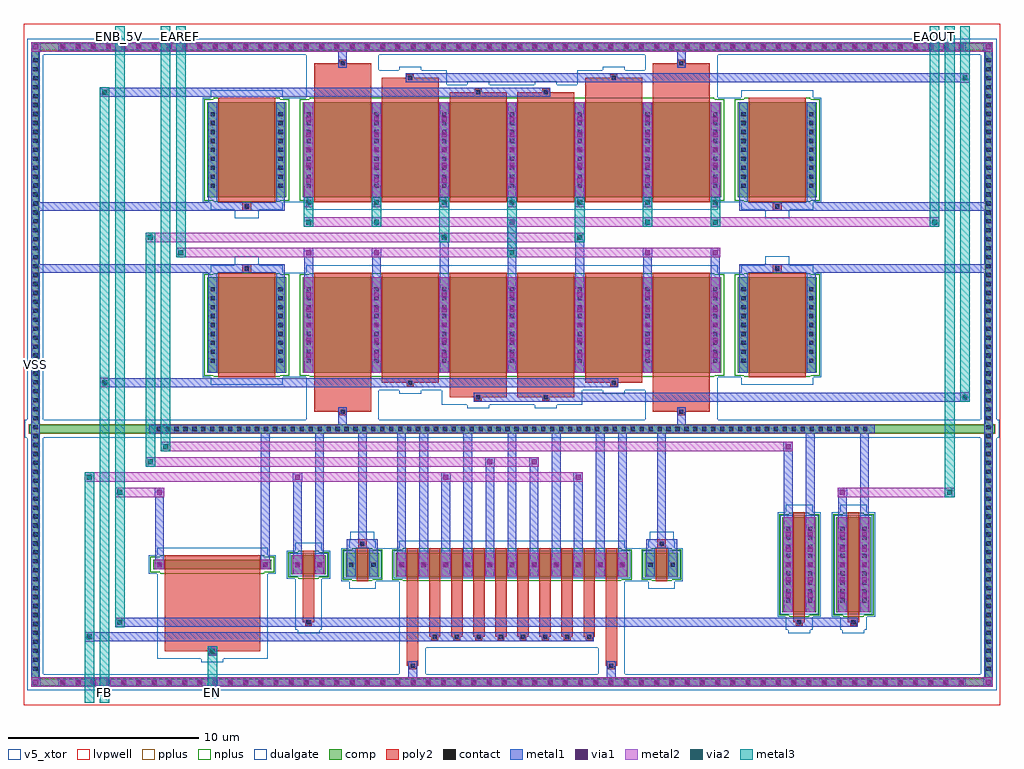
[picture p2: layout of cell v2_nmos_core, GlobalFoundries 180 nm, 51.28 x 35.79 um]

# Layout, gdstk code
import gdstk
lib = gdstk.Library(unit=1e-6, precision=1e-09)
def R(c, l, rs):  # rectangles x0, y0, x1, y1
    for r in rs: c.add(gdstk.rectangle(r[:2], r[2:], *l))
def A(c, l, x, y, w, h, nx, ny, dx, dy):  # array of equal rectangles
    R(c, l, [(x+i*dx, y+j*dy, x+i*dx+w, y+j*dy+h) for i in range(nx) for j in range(ny)])
comp = (22, 0)
poly2 = (30, 0)
pplus = (31, 0)
nplus = (32, 0)
contact = (33, 0)
metal1 = (34, 0)
via1 = (35, 0)
metal2 = (36, 0)
via2 = (38, 0)
metal3 = (42, 0)
dualgate = (55, 0)
v5_xtor = (112, 1)
lvpwell = (204, 0)

v2_nmos_core = lib.new_cell('v2_nmos_core')
R(v2_nmos_core, comp, [(-25.22,-0.365,25.22,-0.005), (-25.22,-0.005,-24.86,12.89), (24.86,-0.005,25.22,12.89), (14.19,3.49,15.99,8.49), (17.04,3.49,18.84,8.49), (-8.74,5.365,-6.98,6.615), (-6.12,5.365,6.12,6.615), (6.98,5.365,8.74,6.615), (-11.59,5.49,-9.79,6.49), (-18.84,5.74,-12.64,6.24), (-25.36,12.89,25.36,13.35), (-25.22,13.35,-24.86,33.015), (24.86,13.35,25.22,33.015), (-16.02,16.08,-11.86,21.08), (-11,16.08,11,21.08), (11.86,16.08,16.02,21.08), (-16.02,25.28,-11.86,30.28), (-11,25.28,11,30.28), (11.86,25.28,16.02,30.28), (-25.22,33.015,25.22,33.375)])
A(v2_nmos_core, poly2, -4.24, 2.02, 0.36, 0.18, 8, 1, 1.16, 0)
A(v2_nmos_core, poly2, -4.36, 2.2, 0.6, 4.655, 8, 1, 1.16, 0)
R(v2_nmos_core, poly2, [(-5.4,0.5,-5.04,0.68), (5.04,0.5,5.4,0.68), (-5.52,0.68,-4.92,6.855), (4.92,0.68,5.52,6.855), (-15.92,1.26,-15.56,1.44), (-18.24,1.44,-13.24,6.48), (-10.87,2.78,-10.51,2.96), (14.91,2.78,15.27,2.96), (17.76,2.78,18.12,2.96), (-10.99,2.96,-10.39,6.73), (14.79,2.96,15.39,8.73), (17.64,2.96,18.24,8.73), (-8.16,5.125,-7.56,6.855), (7.56,5.125,8.16,6.855), (-8.09,6.855,-7.63,7.315), (7.63,6.855,8.09,7.315), (-9.08,13.85,-8.72,14.03), (8.72,13.85,9.08,14.03), (-10.4,14.03,-7.4,21.32), (7.4,14.03,10.4,21.32), (-1.96,14.61,-1.6,14.79), (1.6,14.61,1.96,14.79), (-3.28,14.79,-0.28,21.32), (0.28,14.79,3.28,21.32), (-5.52,15.37,-5.16,15.55), (5.16,15.37,5.52,15.55), (-6.84,15.55,-3.84,21.32), (3.84,15.55,6.84,21.32), (-15.44,15.84,-12.44,21.32), (12.44,15.84,15.44,21.32), (-14.17,21.32,-13.71,21.78), (13.71,21.32,14.17,21.78), (-14.17,24.58,-13.71,25.04), (13.71,24.58,14.17,25.04), (-15.44,25.04,-12.44,30.52), (-10.4,25.04,-7.4,32.33), (-6.84,25.04,-3.84,31.57), (-3.28,25.04,-0.28,30.81), (0.28,25.04,3.28,30.81), (3.84,25.04,6.84,31.57), (7.4,25.04,10.4,32.33), (12.44,25.04,15.44,30.52), (-1.96,30.81,-1.6,30.99), (1.6,30.81,1.96,30.99), (-5.52,31.57,-5.16,31.75), (5.16,31.57,5.52,31.75), (-9.08,32.33,-8.72,32.51), (8.72,32.33,9.08,32.51)])
R(v2_nmos_core, pplus, [(-23.81,-0.395,23.81,-0.385), (-25.24,-0.385,25.24,0.015), (-25.24,0.015,-24.83,0.295), (-23.81,0.015,23.81,0.025), (24.83,0.015,25.24,0.295), (-25.25,0.295,-24.83,12.87), (24.83,0.295,25.25,12.87), (-25.38,12.87,25.38,13.37), (-25.25,13.37,-24.83,32.715), (24.83,13.37,25.25,32.715), (-25.24,32.715,-24.83,32.995), (24.83,32.715,25.24,32.995), (-23.81,32.985,23.81,32.995), (-25.24,32.995,25.24,33.395), (-23.81,33.395,23.81,33.405)])
R(v2_nmos_core, nplus, [(14.56,3.26,15.62,3.33), (17.41,3.26,18.47,3.33), (14.03,3.33,16.15,8.65), (16.88,3.33,19,8.65), (-8.39,5.135,-7.33,5.205), (-5.75,5.135,5.75,5.205), (7.33,5.135,8.39,5.205), (-8.9,5.205,-6.82,6.775), (-6.28,5.205,6.28,6.775), (6.82,5.205,8.9,6.775), (-11.22,5.26,-10.16,5.33), (-11.75,5.33,-9.63,6.65), (-18.47,5.51,-13.01,5.58), (-19,5.58,-12.48,6.4), (-18.47,6.4,-13.01,6.47), (-11.22,6.65,-10.16,6.72), (-8.39,6.775,-7.33,6.845), (-5.75,6.775,5.75,6.845), (7.33,6.775,8.39,6.845), (14.56,8.65,15.62,8.72), (17.41,8.65,18.47,8.72), (-15.67,15.85,-12.21,15.92), (-10.63,15.85,10.63,15.92), (12.21,15.85,15.67,15.92), (-16.18,15.92,-11.7,21.24), (-11.16,15.92,11.16,21.24), (11.7,15.92,16.18,21.24), (-15.67,21.24,-12.21,21.31), (-10.63,21.24,10.63,21.31), (12.21,21.24,15.67,21.31), (-15.67,25.05,-12.21,25.12), (-10.63,25.05,10.63,25.12), (12.21,25.05,15.67,25.12), (-16.18,25.12,-11.7,30.44), (-11.16,25.12,11.16,30.44), (11.7,25.12,16.18,30.44), (-15.67,30.44,-12.21,30.51), (-10.63,30.44,10.63,30.51), (12.21,30.44,15.67,30.51)])
A(v2_nmos_core, contact, -23.71, -0.295, 0.22, 0.22, 60, 2, 0.8, 33.38)
A(v2_nmos_core, contact, -25.15, 0.415, 0.22, 0.22, 1, 69, 0, 0.47)
A(v2_nmos_core, contact, 24.93, 0.415, 0.22, 0.22, 1, 69, 0, 0.47)
A(v2_nmos_core, contact, -4.17, 2.09, 0.22, 0.22, 8, 1, 1.16, 0)
A(v2_nmos_core, contact, 14.4, 4, 0.22, 0.22, 1, 9, 0, 0.47)
A(v2_nmos_core, contact, 15.56, 4, 0.22, 0.22, 1, 9, 0, 0.47)
A(v2_nmos_core, contact, 17.25, 4, 0.22, 0.22, 1, 9, 0, 0.47)
A(v2_nmos_core, contact, 18.41, 4, 0.22, 0.22, 1, 9, 0, 0.47)
A(v2_nmos_core, contact, -5.91, 5.88, 0.22, 0.22, 11, 1, 1.16, 0)
A(v2_nmos_core, contact, -18.675, 13.01, 0.22, 0.22, 80, 1, 0.47, 0)
A(v2_nmos_core, contact, -15.83, 16.59, 0.22, 0.22, 1, 9, 0, 0.47)
A(v2_nmos_core, contact, -12.27, 16.59, 0.22, 0.22, 1, 9, 0, 0.47)
A(v2_nmos_core, contact, -10.79, 16.59, 0.22, 0.22, 7, 9, 3.56, 0.47)
A(v2_nmos_core, contact, 12.05, 16.59, 0.22, 0.22, 1, 9, 0, 0.47)
A(v2_nmos_core, contact, 15.61, 16.59, 0.22, 0.22, 1, 9, 0, 0.47)
A(v2_nmos_core, contact, -15.83, 25.79, 0.22, 0.22, 1, 9, 0, 0.47)
A(v2_nmos_core, contact, -12.27, 25.79, 0.22, 0.22, 1, 9, 0, 0.47)
A(v2_nmos_core, contact, -10.79, 25.79, 0.22, 0.22, 7, 9, 3.56, 0.47)
A(v2_nmos_core, contact, 12.05, 25.79, 0.22, 0.22, 1, 9, 0, 0.47)
A(v2_nmos_core, contact, 15.61, 25.79, 0.22, 0.22, 1, 9, 0, 0.47)
R(v2_nmos_core, contact, [(-5.33,0.57,-5.11,0.79), (5.11,0.57,5.33,0.79), (-15.85,1.33,-15.63,1.55), (-10.8,2.85,-10.58,3.07), (14.98,2.85,15.2,3.07), (17.83,2.85,18.05,3.07), (-18.63,5.88,-18.41,6.1), (-13.07,5.88,-12.85,6.1), (-11.38,5.88,-11.16,6.1), (-10.22,5.88,-10,6.1), (-8.55,5.88,-8.33,6.1), (-7.39,5.88,-7.17,6.1), (7.17,5.88,7.39,6.1), (8.33,5.88,8.55,6.1), (-7.97,6.975,-7.75,7.195), (7.75,6.975,7.97,7.195), (-9.01,13.92,-8.79,14.14), (8.79,13.92,9.01,14.14), (-1.89,14.68,-1.67,14.9), (1.67,14.68,1.89,14.9), (-5.45,15.44,-5.23,15.66), (5.23,15.44,5.45,15.66), (-14.05,21.44,-13.83,21.66), (13.83,21.44,14.05,21.66), (-14.05,24.7,-13.83,24.92), (13.83,24.7,14.05,24.92), (-1.89,30.7,-1.67,30.92), (1.67,30.7,1.89,30.92), (-5.45,31.46,-5.23,31.68), (5.23,31.46,5.45,31.68), (-9.01,32.22,-8.79,32.44), (8.79,32.22,9.01,32.44)])
A(v2_nmos_core, metal1, -6.03, 5.365, 0.46, 0.375, 11, 1, 1.16, 0)
A(v2_nmos_core, metal1, -6.05, 5.74, 0.5, 0.5, 11, 1, 1.16, 0)
A(v2_nmos_core, metal1, -4.87, 6.24, 0.46, 6.65, 5, 1, 2.32, 0)
A(v2_nmos_core, metal1, -10.91, 16.08, 0.46, 0.65, 7, 2, 3.56, 9.2)
A(v2_nmos_core, metal1, -10.93, 16.73, 0.5, 3.7, 7, 2, 3.56, 9.2)
A(v2_nmos_core, metal1, -10.93, 24.78, 0.5, 0.5, 7, 1, 3.56, 0)
A(v2_nmos_core, metal1, -10.91, 29.63, 0.46, 0.65, 7, 1, 3.56, 0)
R(v2_nmos_core, metal1, [(-25.27,-0.435,-24.77,0.065), (-23.85,-0.435,23.85,0.065), (24.77,-0.435,25.27,0.065), (-25.27,0.065,-24.81,21.32), (-5.45,0.065,-4.99,0.91), (4.99,0.065,5.45,0.91), (24.81,0.065,25.27,21.32), (-15.99,1.19,-15.49,1.69), (-22.45,1.95,-21.95,1.97), (-22.45,1.97,4.29,2.43), (-22.45,2.43,-21.95,2.45), (-20.85,2.71,-20.35,2.73), (-20.85,2.73,18.17,3.19), (-20.85,3.19,-20.35,3.21), (14.28,3.49,14.74,4.14), (15.44,3.49,15.9,4.14), (17.13,3.49,17.59,4.14), (18.29,3.49,18.75,4.14), (14.26,4.14,14.76,7.84), (15.42,4.14,15.92,7.84), (17.11,4.14,17.61,7.84), (18.27,4.14,18.77,7.84), (-8.67,5.365,-8.21,6.855), (-7.51,5.365,-7.05,6.855), (7.05,5.365,7.51,6.855), (8.21,5.365,8.67,6.855), (-11.5,5.49,-11.04,5.74), (-10.34,5.49,-9.88,5.74), (-18.77,5.74,-18.27,6.24), (-13.21,5.74,-12.71,6.24), (-11.52,5.74,-11.02,6.24), (-10.36,5.74,-9.86,6.24), (-18.75,6.24,-18.29,9.54), (-13.19,6.24,-12.73,12.89), (-11.5,6.24,-11.04,10.34), (-10.34,6.24,-9.88,12.89), (-6.03,6.24,-5.57,12.89), (-3.71,6.24,-3.25,10.34), (-1.39,6.24,-0.93,11.14), (0.93,6.24,1.39,11.14), (3.25,6.24,3.71,10.34), (5.57,6.24,6.03,12.89), (-8.67,6.855,-7.05,7.315), (7.05,6.855,8.67,7.315), (-8.09,7.315,-7.63,12.89), (7.63,7.315,8.09,12.89), (14.28,7.84,14.74,11.94), (15.44,7.84,15.9,12.89), (17.13,7.84,17.59,9.54), (18.29,7.84,18.75,12.89), (-18.77,9.54,-18.27,10.04), (17.11,9.54,17.61,10.04), (-11.52,10.34,-11.02,10.84), (-3.73,10.34,-3.23,10.84), (3.23,10.34,3.73,10.84), (-1.41,11.14,-0.91,11.64), (0.91,11.14,1.41,11.64), (14.26,11.94,14.76,12.44), (-19.07,12.89,19.07,13.35), (-9.13,13.35,-8.67,14.26), (8.67,13.35,9.13,14.26), (23.55,14.54,24.05,14.56), (-2.01,14.56,24.05,15.02), (23.55,15.02,24.05,15.04), (-21.65,15.3,-21.15,15.32), (-21.65,15.32,5.57,15.78), (-21.65,15.78,-21.15,15.8), (-15.95,16.08,-15.49,21.32), (-12.39,16.08,-11.93,21.32), (11.93,16.08,12.39,21.32), (15.49,16.08,15.95,21.32), (-10.91,20.43,-10.45,22.13), (-7.35,20.43,-6.89,22.13), (-3.79,20.43,-3.33,22.93), (-0.23,20.43,0.23,23.73), (3.33,20.43,3.79,22.93), (6.89,20.43,7.35,22.13), (10.45,20.43,10.91,22.13), (-25.27,21.32,-11.93,21.78), (11.93,21.32,25.27,21.78), (-25.27,21.78,-24.81,24.58), (24.81,21.78,25.27,24.58), (-10.93,22.13,-10.43,22.63), (-7.37,22.13,-6.87,22.63), (6.87,22.13,7.37,22.63), (10.43,22.13,10.93,22.63), (-3.81,22.93,-3.31,23.43), (3.31,22.93,3.81,23.43), (-0.25,23.73,0.25,24.23), (-25.27,24.58,-11.93,25.04), (11.93,24.58,25.27,25.04), (-25.27,25.04,-24.81,32.945), (-15.95,25.04,-15.49,30.28), (-12.39,25.04,-11.93,30.28), (11.93,25.04,12.39,30.28), (15.49,25.04,15.95,30.28), (24.81,25.04,25.27,32.945), (-21.65,30.56,-21.15,30.58), (-21.65,30.58,2.01,31.04), (-21.65,31.04,-21.15,31.06), (23.55,31.32,24.05,31.34), (-5.57,31.34,24.05,31.8), (23.55,31.8,24.05,31.82), (-9.13,32.1,-8.67,32.945), (8.67,32.1,9.13,32.945), (-25.27,32.945,-24.77,33.445), (-23.85,32.945,23.85,33.445), (24.77,32.945,25.27,33.445)])
A(v2_nmos_core, via1, -23.73, -0.315, 0.26, 0.26, 60, 2, 0.8, 33.38)
A(v2_nmos_core, via1, 14.38, 4.26, 0.26, 0.26, 1, 5, 0, 0.8)
A(v2_nmos_core, via1, 15.54, 4.26, 0.26, 0.26, 1, 5, 0, 0.8)
A(v2_nmos_core, via1, 17.23, 4.26, 0.26, 0.26, 1, 5, 0, 0.8)
A(v2_nmos_core, via1, 18.39, 4.26, 0.26, 0.26, 1, 5, 0, 0.8)
A(v2_nmos_core, via1, -5.93, 5.86, 0.26, 0.26, 11, 1, 1.16, 0)
A(v2_nmos_core, via1, -10.81, 16.85, 0.26, 0.26, 7, 5, 3.56, 0.8)
A(v2_nmos_core, via1, -10.81, 24.9, 0.26, 0.26, 7, 2, 3.56, 1.15)
A(v2_nmos_core, via1, -10.81, 26.85, 0.26, 0.26, 7, 4, 3.56, 0.8)
R(v2_nmos_core, via1, [(-25.15,-0.315,-24.89,-0.055), (24.89,-0.315,25.15,-0.055), (-15.87,1.31,-15.61,1.57), (-22.33,2.07,-22.07,2.33), (-20.73,2.83,-20.47,3.09), (-18.65,5.86,-18.39,6.12), (-13.09,5.86,-12.83,6.12), (-11.4,5.86,-11.14,6.12), (-10.24,5.86,-9.98,6.12), (-18.65,9.66,-18.39,9.92), (17.23,9.66,17.49,9.92), (-11.4,10.46,-11.14,10.72), (-3.61,10.46,-3.35,10.72), (3.35,10.46,3.61,10.72), (-1.29,11.26,-1.03,11.52), (1.03,11.26,1.29,11.52), (14.38,12.06,14.64,12.32), (23.67,14.66,23.93,14.92), (-21.53,15.42,-21.27,15.68), (-10.81,22.25,-10.55,22.51), (-7.25,22.25,-6.99,22.51), (6.99,22.25,7.25,22.51), (10.55,22.25,10.81,22.51), (-3.69,23.05,-3.43,23.31), (3.43,23.05,3.69,23.31), (-0.13,23.85,0.13,24.11), (-21.53,30.68,-21.27,30.94), (23.67,31.44,23.93,31.7), (-25.15,33.065,-24.89,33.325), (24.89,33.065,25.15,33.325)])
A(v2_nmos_core, metal2, -6.05, 5.365, 0.5, 1.25, 11, 1, 1.16, 0)
A(v2_nmos_core, metal2, -10.93, 16.08, 0.5, 5, 7, 1, 3.56, 0)
A(v2_nmos_core, metal2, -10.93, 24.78, 0.5, 5.5, 7, 1, 3.56, 0)
R(v2_nmos_core, metal2, [(-25.27,-0.435,25.27,0.065), (-15.99,1.19,-15.49,1.69), (-22.45,1.95,-21.95,2.45), (-20.85,2.71,-20.35,3.21), (14.26,3.49,14.76,8.49), (15.42,3.49,15.92,8.49), (17.11,3.49,17.61,8.49), (18.27,3.49,18.77,8.49), (-11.52,5.49,-11.02,6.49), (-10.36,5.49,-9.86,6.49), (-18.77,5.74,-18.27,6.24), (-13.21,5.74,-12.71,6.24), (-20.85,9.54,-18.27,10.04), (17.11,9.54,23.25,10.04), (-22.45,10.34,3.73,10.84), (-19.25,11.14,1.41,11.64), (-18.45,11.94,14.76,12.44), (23.55,14.54,24.05,15.04), (-21.65,15.3,-21.15,15.8), (-17.65,22.13,10.93,22.63), (-19.25,22.93,3.81,23.43), (-10.93,23.73,22.45,24.23), (-21.65,30.56,-21.15,31.06), (23.55,31.32,24.05,31.82), (-25.27,32.945,25.27,33.445)])
A(v2_nmos_core, via2, -10.81, 24.9, 0.26, 0.26, 7, 1, 3.56, 0)
R(v2_nmos_core, via2, [(-15.87,1.31,-15.61,1.57), (-22.33,2.07,-22.07,2.33), (-20.73,2.83,-20.47,3.09), (-20.73,9.66,-20.47,9.92), (22.87,9.66,23.13,9.92), (-22.33,10.46,-22.07,10.72), (-19.13,11.26,-18.87,11.52), (-18.33,12.06,-18.07,12.32), (23.67,14.66,23.93,14.92), (-21.53,15.42,-21.27,15.68), (-17.53,22.25,-17.27,22.51), (-0.13,22.25,0.13,22.51), (-19.13,23.05,-18.87,23.31), (-3.69,23.05,-3.43,23.31), (3.43,23.05,3.69,23.31), (-10.81,23.85,-10.55,24.11), (-7.25,23.85,-6.99,24.11), (6.99,23.85,7.25,24.11), (10.55,23.85,10.81,24.11), (22.07,23.85,22.33,24.11), (-21.53,30.68,-21.27,30.94), (23.67,31.44,23.93,31.7)])
R(v2_nmos_core, metal3, [(-22.45,-1.27,-21.95,10.84), (-21.65,-1.27,-21.15,31.06), (-15.99,-1.02,-15.49,1.69), (-20.85,2.71,-20.35,34.28), (22.75,9.54,23.25,34.28), (-19.25,11.14,-18.75,23.43), (-18.45,11.94,-17.95,34.28), (23.55,14.54,24.05,34.28), (-17.65,22.13,-17.15,34.28), (-0.25,22.13,0.25,25.28), (-3.81,22.93,-3.31,25.28), (3.31,22.93,3.81,25.28), (-10.93,23.73,-10.43,25.28), (-7.37,23.73,-6.87,25.28), (6.87,23.73,7.37,25.28), (10.43,23.73,10.93,25.28), (21.95,23.73,22.45,34.28)])
R(v2_nmos_core, dualgate, [(-25.46,-0.605,25.46,0.235), (-25.46,0.235,-24.62,12.65), (-5.92,0.235,-4.52,1.62), (4.52,0.235,5.92,1.62), (24.62,0.235,25.46,12.65), (-16.32,0.86,-15.16,1.04), (-18.64,1.04,-12.84,5.5), (-5.92,1.62,5.92,5.125), (-11.27,2.38,-10.11,2.56), (14.51,2.38,15.67,2.56), (17.36,2.38,18.52,2.56), (-11.39,2.56,-9.99,5.25), (14.39,2.56,15.79,3.25), (17.24,2.56,18.64,3.25), (13.95,3.25,16.23,8.73), (16.8,3.25,19.08,8.73), (-8.56,4.725,-7.16,5.125), (7.16,4.725,8.56,5.125), (-8.98,5.125,8.98,6.855), (-11.83,5.25,-9.55,6.73), (-19.08,5.5,-12.4,6.48), (-18.64,6.48,-12.84,6.88), (-11.39,6.73,-9.99,7.13), (-8.56,6.855,-7.16,7.255), (-5.92,6.855,5.92,7.255), (7.16,6.855,8.56,7.255), (-8.49,7.255,-7.23,7.715), (7.23,7.255,8.49,7.715), (14.39,8.73,15.79,9.13), (17.24,8.73,18.64,9.13), (-25.6,12.65,25.6,13.59), (-25.46,13.59,-24.62,32.775), (-10.8,13.59,-7,15.15), (7,13.59,10.8,15.15), (24.62,13.59,25.46,32.775), (-2.36,14.21,-1.2,14.39), (1.2,14.21,2.36,14.39), (-3.68,14.39,3.68,15.15), (-5.92,14.97,-4.76,15.15), (4.76,14.97,5.92,15.15), (-10.8,15.15,10.8,15.84), (-15.84,15.44,-12.04,15.84), (12.04,15.44,15.84,15.84), (-16.26,15.84,16.26,21.32), (-15.84,21.32,-12.04,21.72), (-10.8,21.32,10.8,21.72), (12.04,21.32,15.84,21.72), (-14.57,21.72,-13.31,22.18), (13.31,21.72,14.57,22.18), (-14.57,24.18,-13.31,24.64), (13.31,24.18,14.57,24.64), (-15.84,24.64,-12.04,25.04), (-10.8,24.64,10.8,25.04), (12.04,24.64,15.84,25.04), (-16.26,25.04,16.26,30.52), (-15.84,30.52,-12.04,30.92), (-10.8,30.52,10.8,31.21), (12.04,30.52,15.84,30.92), (-10.8,31.21,-3.44,31.97), (-2.36,31.21,-1.2,31.39), (1.2,31.21,2.36,31.39), (3.44,31.21,10.8,31.97), (-10.8,31.97,-7,32.775), (-5.92,31.97,-4.76,32.15), (4.76,31.97,5.92,32.15), (7,31.97,10.8,32.775), (-25.46,32.775,25.46,33.615)])
R(v2_nmos_core, v5_xtor, [(14.09,3.39,16.09,8.59), (16.94,3.39,18.94,8.59), (-8.84,5.265,-6.88,6.715), (-6.22,5.265,6.22,6.715), (6.88,5.265,8.84,6.715), (-11.69,5.39,-9.69,6.59)])
R(v2_nmos_core, lvpwell, [(-25.64,-1.39,25.64,34.4)])
v2_nmos_core.add(gdstk.Label('EAOUT', (22.2,33.73), layer=42, texttype=10))
v2_nmos_core.add(gdstk.Label('EAREF', (-17.4,33.73), layer=42, texttype=10))
v2_nmos_core.add(gdstk.Label('ENB_5V', (-20.6,33.73), layer=42, texttype=10))
v2_nmos_core.add(gdstk.Label('EN_5V', (-18.2,33.73), layer=42, texttype=10))
v2_nmos_core.add(gdstk.Label('FB', (-21.4,-0.72), layer=42, texttype=10))
v2_nmos_core.add(gdstk.Label('IREF', (-22.2,-0.72), layer=42, texttype=10))
v2_nmos_core.add(gdstk.Label('VOUT', (23,33.73), layer=42, texttype=10))
v2_nmos_core.add(gdstk.Label('VREF', (23.8,33.73), layer=42, texttype=10))
v2_nmos_core.add(gdstk.Label('EN', (-15.74,-0.72), layer=42, texttype=10))
v2_nmos_core.add(gdstk.Label('VSS', (-25.01,16.505), layer=34, texttype=10))

lib.write_gds('v2_nmos_core.gds')
